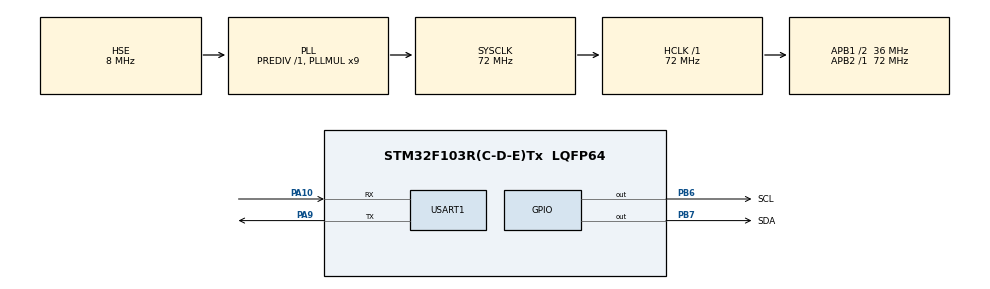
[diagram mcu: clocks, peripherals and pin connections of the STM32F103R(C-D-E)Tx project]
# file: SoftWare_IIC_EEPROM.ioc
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Mcu.Family=STM32F1
Mcu.Name=STM32F103R(C-D-E)Tx
Mcu.Package=LQFP64
NVIC.PriorityGroup=NVIC_PRIORITYGROUP_4
PA10.Mode=Asynchronous
PA10.Signal=USART1_RX
PA13.Mode=Serial_Wire
PA13.Signal=SYS_JTMS-SWDIO
PA14.Mode=Serial_Wire
PA14.Signal=SYS_JTCK-SWCLK
PA9.Mode=Asynchronous
PA9.Signal=USART1_TX
PB6.GPIO_Label=SCL
PB6.GPIO_ModeDefaultOutputPP=GPIO_MODE_OUTPUT_OD
PB6.GPIO_PuPd=GPIO_NOPULL
PB6.GPIO_Speed=GPIO_SPEED_FREQ_HIGH
PB6.Signal=GPIO_Output
PB7.GPIO_Label=SDA
PB7.GPIO_ModeDefaultOutputPP=GPIO_MODE_OUTPUT_OD
PB7.GPIO_PuPd=GPIO_NOPULL
PB7.GPIO_Speed=GPIO_SPEED_FREQ_HIGH
PB7.Signal=GPIO_Output
PD0-OSC_IN.Mode=HSE-External-Oscillator
PD0-OSC_IN.Signal=RCC_OSC_IN
PD1-OSC_OUT.Mode=HSE-External-Oscillator
PD1-OSC_OUT.Signal=RCC_OSC_OUT
ProjectManager.HeapSize=0x200
ProjectManager.StackSize=0x400
ProjectManager.TargetToolchain=Makefile
RCC.AHBFreq_Value=72000000
RCC.APB1CLKDivider=RCC_HCLK_DIV2
RCC.APB1Freq_Value=36000000
RCC.APB1TimFreq_Value=72000000
RCC.APB2Freq_Value=72000000
RCC.APB2TimFreq_Value=72000000
RCC.HCLKFreq_Value=72000000
RCC.PLLMUL=RCC_PLL_MUL9
RCC.PLLSourceVirtual=RCC_PLLSOURCE_HSE
RCC.SYSCLKFreq_VALUE=72000000
RCC.SYSCLKSource=RCC_SYSCLKSOURCE_PLLCLK
RCC.USBFreq_Value=72000000
USART1.VirtualMode=VM_ASYNC
board=custom

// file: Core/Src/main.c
/* USER CODE BEGIN Header */
/**
 ******************************************************************************
 * @file           : main.c
 * @brief          : Main program body
 ******************************************************************************
 * @attention
 *
 * Copyright (c) 2023 STMicroelectronics.
 * All rights reserved.
 *
 * This software is licensed under terms that can be found in the LICENSE file
 * in the root directory of this software component.
 * If no LICENSE file comes with this software, it is provided AS-IS.
 *
 ******************************************************************************
 */
/* USER CODE END Header */
#include "main.h"
#include "usart.h"
#include "gpio.h"

/* USER CODE BEGIN Includes */
#include "eeprom.h"
#include <stdio.h>
/* USER CODE END Includes */

void SystemClock_Config(void);

/* USER CODE BEGIN 0 */
uint8_t rx_buf[10] = {0};
uint8_t tx_buf[10] = {0};
/* USER CODE END 0 */

int main(void)
{

    /* MCU Configuration--------------------------------------------------------*/

    /* Reset of all peripherals, Initializes the Flash interface and the Systick. */
    HAL_Init();

    /* Configure the system clock */
    SystemClock_Config();

    /* Initialize all configured peripherals */
    MX_GPIO_Init();
    MX_USART1_UART_Init();
    /* USER CODE BEGIN 2 */
    printf("-------------Read Test------------------\r\n");
    EEPROM_Read(0, rx_buf, 10);
    for (int i = 0; i < 10; i++) {
        printf("[0x%08x]:0x%02x\r\n", i, rx_buf[i]);
    }
    printf("-------------Write Test-----------------\r\n");
    for (int i = 0; i < 10; i++) {
        tx_buf[i] = i + 1;
    }
    EEPROM_Write(0, tx_buf, 10);
    printf("-------------Read Test------------------\r\n");
    EEPROM_Read(0, rx_buf, 10);
    for (int i = 0; i < 10; i++) {
        printf("[0x%08x]:0x%02x\r\n", i, rx_buf[i]);
    }
    /* USER CODE END 2 */

    /* Infinite loop */
    while (1) {

    }
}

void SystemClock_Config(void)
{
    RCC_OscInitTypeDef RCC_OscInitStruct = {0};
    RCC_ClkInitTypeDef RCC_ClkInitStruct = {0};

    /** Initializes the RCC Oscillators according to the specified parameters
     * in the RCC_OscInitTypeDef structure.
     */
    RCC_OscInitStruct.OscillatorType = RCC_OSCILLATORTYPE_HSE;
    RCC_OscInitStruct.HSEState       = RCC_HSE_ON;
    RCC_OscInitStruct.HSEPredivValue = RCC_HSE_PREDIV_DIV1;
    RCC_OscInitStruct.HSIState       = RCC_HSI_ON;
    RCC_OscInitStruct.PLL.PLLState   = RCC_PLL_ON;
    RCC_OscInitStruct.PLL.PLLSource  = RCC_PLLSOURCE_HSE;
    RCC_OscInitStruct.PLL.PLLMUL     = RCC_PLL_MUL9;
    if (HAL_RCC_OscConfig(&RCC_OscInitStruct) != HAL_OK) {
        Error_Handler();
    }

    /** Initializes the CPU, AHB and APB buses clocks
     */
    RCC_ClkInitStruct.ClockType      = RCC_CLOCKTYPE_HCLK | RCC_CLOCKTYPE_SYSCLK | RCC_CLOCKTYPE_PCLK1 | RCC_CLOCKTYPE_PCLK2;
    RCC_ClkInitStruct.SYSCLKSource   = RCC_SYSCLKSOURCE_PLLCLK;
    RCC_ClkInitStruct.AHBCLKDivider  = RCC_SYSCLK_DIV1;
    RCC_ClkInitStruct.APB1CLKDivider = RCC_HCLK_DIV2;
    RCC_ClkInitStruct.APB2CLKDivider = RCC_HCLK_DIV1;

    if (HAL_RCC_ClockConfig(&RCC_ClkInitStruct, FLASH_LATENCY_2) != HAL_OK) {
        Error_Handler();
    }
}

void Error_Handler(void)
{
    __disable_irq();
    while (1) {
    }
}
